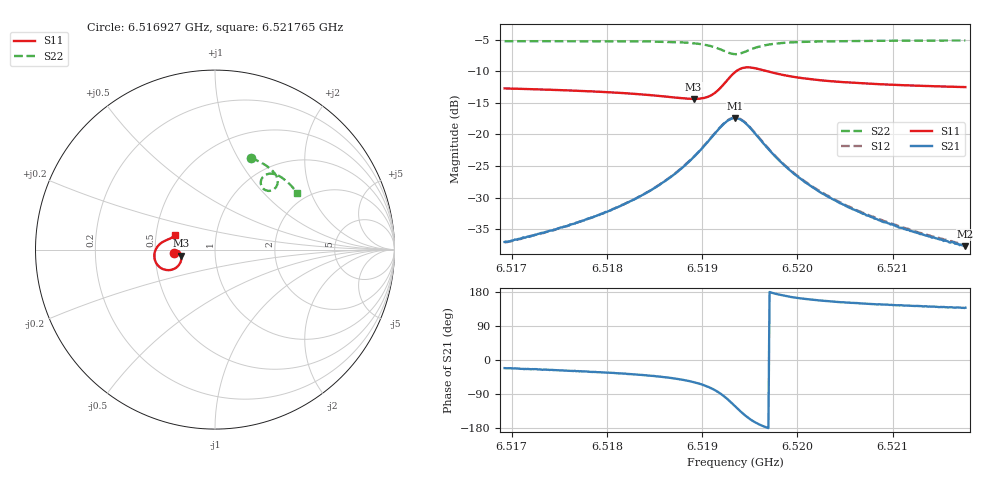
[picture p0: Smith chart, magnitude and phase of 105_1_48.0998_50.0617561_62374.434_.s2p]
#  HZ  S  RI  R  50.00
! Rohde & Schwarz Vector Network Analyzer
! Rohde-Schwarz,ZNB20-2Port,1311601062101988,3.16
! Created: UTC 12/23/2023, 3:45:10 AM
! freq[Hz]  re:S11  im:S11  re:S21  im:S21  re:S12  im:S12  re:S22  im:S22
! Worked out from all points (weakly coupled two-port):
!   401 points, 6.516927 GHz to 6.521765 GHz, reference 50 ohm
!   highest |S21| = -17.40 dB at 6.519346 GHz (marker M1); lowest = -37.7 dB at 6.521765 GHz (marker M2)
!   lowest |S11| = -14.4 dB at 6.51891 GHz (marker M3), VSWR 1.47, Z = 34.1 - j2.39 ohm
!   |S11| at or under -10 dB: start of sweep to 6.519356 GHz; 6.519689 GHz to end of sweep
!   |S22| runs from -7.3 to -5.1 dB; largest |S21 - S12| = 0.0042
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6.5169268e9  -0.231 -0.0186  0.0131 -0.00513  0.0131 -0.00464  0.1981 0.5112
6.5173622e9  -0.2264 -0.0121  0.0152 -0.00734  0.0154 -0.00673  0.2305 0.4979
6.5177372e9  -0.2211 -0.00782  0.0178 -0.0103  0.0182 -0.00971  0.2582 0.4842
6.5181605e9  -0.2129 -0.0054  0.0225 -0.0161  0.0229 -0.0153  0.2899 0.4646
6.5185475e9  -0.2018 -0.00969  0.0285 -0.0274  0.0295 -0.0265  0.3199 0.4401
6.5187411e9  -0.1945 -0.018  0.0324 -0.0387  0.0339 -0.0377  0.3349 0.4223
6.5189104e9  -0.1884 -0.0337  0.0347 -0.056  0.0366 -0.0554  0.3461 0.3997
6.5190192e9  -0.1875 -0.0518  0.0321 -0.0739  0.0347 -0.0734  0.3494 0.3794
6.519116e9  -0.1947 -0.0755  0.0222 -0.0954  0.025 -0.0955  0.3447 0.3566
6.519249e9  -0.2364 -0.1107  -0.0205 -0.1234  -0.0172 -0.125  0.3128 0.3285
6.5193458e9  -0.2928 -0.1072  -0.0711 -0.1145  -0.0684 -0.1176  0.274 0.3355
6.5193942e9  -0.3173 -0.089  -0.0909 -0.096  -0.0889 -0.0994  0.2604 0.3514
6.5194547e9  -0.3347 -0.0583  -0.103 -0.0676  -0.102 -0.0711  0.255 0.3748
6.5195514e9  -0.3353 -0.0134  -0.0986 -0.029  -0.0986 -0.0322  0.267 0.4043
6.5196603e9  -0.32 0.0175  -0.0822 -0.00498  -0.0826 -0.00749  0.2896 0.4197
6.5198901e9  -0.2891 0.0438  -0.0535 0.0111  -0.0543 0.00965  0.3289 0.4212
6.5201562e9  -0.268 0.054  -0.0357 0.0137  -0.0366 0.0127  0.3595 0.4091
6.5203981e9  -0.256 0.0589  -0.0269 0.0132  -0.0276 0.0126  0.3802 0.3958
6.5205553e9  -0.2502 0.0615  -0.0228 0.0126  -0.0236 0.0122  0.3918 0.3867
6.5209665e9  -0.239 0.0674  -0.0162 0.0112  -0.0167 0.0107  0.4179 0.3624
6.5214019e9  -0.2302 0.0736  -0.0119 0.00973  -0.0125 0.00944  0.4417 0.3362
6.5217648e9  -0.224 0.0787  -0.00964 0.00872  -0.00996 0.00875  0.4595 0.3137
